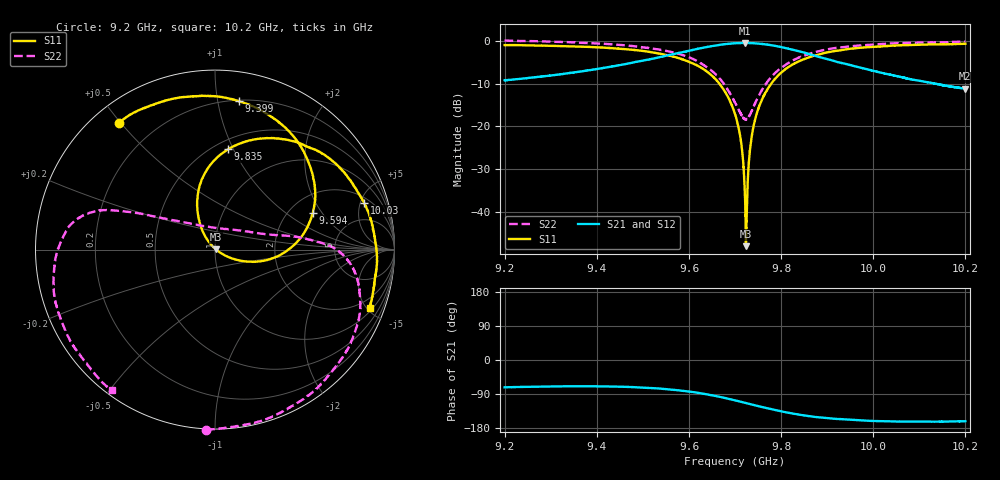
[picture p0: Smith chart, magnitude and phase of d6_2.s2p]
!Agilent Technologies,N5242A,MY51221714,A.09.90.19
!Agilent N5242A: A.09.90.19
!Date: Friday, February 02, 2024 13:21:54
!Correction: S11(Full 2 Port(1,2))
!S21(Full 2 Port(1,2))
!S12(Full 2 Port(1,2))
!S22(Full 2 Port(1,2))
!S2P File: Measurements: S11, S21, S12, S22:
# Hz S  dB  R 50
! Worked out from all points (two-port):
!   16001 points, 9.2 GHz to 10.2 GHz, reference 50 ohm
!   highest |S21| = -0.53 dB at 9.722 GHz (marker M1); lowest = -11.2 dB at 10.2 GHz (marker M2)
!   |S21| within 3 dB of the highest: 9.549158 GHz to 9.549205 GHz (47.26 kHz wide, 0.000495 % of centre); 9.55 GHz to 9.874 GHz (324.3 MHz wide, 3.34 % of centre)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
!   lowest |S11| = -48.0 dB at 9.724 GHz (marker M3), VSWR 1.01, Z = 50.3 + j0.224 ohm
!   |S11| at or under -10 dB: 9.666 GHz to 9.779 GHz (113 MHz wide, 1.16 % of centre)
!   |S22| runs from -18.4 to 0.0 dB; largest |S21 - S12| = 0.027
!   S11 on the Smith chart (normalised r, x): 9.2 GHz: 0.07, +0.49; 9.399 GHz: 0.21, +1.15; 9.594 GHz: 2.65, +1.65; 9.835 GHz: 0.58, +0.95; 10.03 GHz: 2.53, +5.39; 10.2 GHz: 1.24, -5.21
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9.2e9  -1.04 127.3  -9.25 -72.0  -9.22 -73.4  0.04 -92.8
9.366688e9  -1.39 88.9  -7.17 -69.3  -7.14 -70.7  -0.51 -47.4
9.398938e9  -1.54 80.8  -6.63 -69.5  -6.61 -70.8  -0.64 -39.1
9.533375e9  -2.97 42.6  -3.93 -75.1  -3.90 -76.4  -2.04 -9.3
9.594438e9  -4.69 20.7  -2.49 -82.4  -2.46 -83.8  -3.64 1.0
9.659312e9  -9.16 -6.3  -1.12 -95.4  -1.09 -96.7  -7.95 11.2
9.7e9  -17.14 -24.6  -0.61 -106.5  -0.58 -108.0  -14.40 32.9
9.7135e9  -23.93 -30.5  -0.55 -110.5  -0.52 -112.0  -17.22 55.8
9.721938e9  -37.26 -21.6  -0.53 -113.1  -0.51 -114.6  -18.32 79.1
9.723875e9  -47.96 33.8  -0.55 -113.7  -0.51 -115.2  -18.39 84.8
9.727062e9  -34.04 124.3  -0.55 -114.6  -0.52 -116.2  -18.19 95.1
9.731375e9  -26.70 129.0  -0.55 -116.0  -0.53 -117.5  -17.48 107.2
9.736e9  -22.51 128.2  -0.57 -117.3  -0.54 -118.9  -16.45 117.9
9.752625e9  -15.24 119.4  -0.70 -122.3  -0.67 -123.9  -12.63 139.0
9.787125e9  -8.89 104.1  -1.22 -132.1  -1.21 -133.7  -7.53 152.7
9.8355e9  -4.98 82.5  -2.39 -143.4  -2.37 -144.8  -4.11 159.4
9.866688e9  -3.67 69.8  -3.31 -149.2  -3.28 -150.6  -2.90 163.0
9.943562e9  -2.00 43.4  -5.52 -157.3  -5.50 -158.7  -1.40 175.6
1.003338e10  -1.21 17.7  -7.85 -161.9  -7.85 -163.2  -0.67 -166.2
1.003488e10  -1.21 17.4  -7.90 -161.9  -7.88 -163.4  -0.67 -166.0
1.01995e10  -0.73 -20.5  -11.23 -161.5  -11.20 -163.2  -0.24 -126.5
1.02e10  -0.72 -20.6  -11.21 -161.5  -11.20 -163.2  -0.24 -126.3
